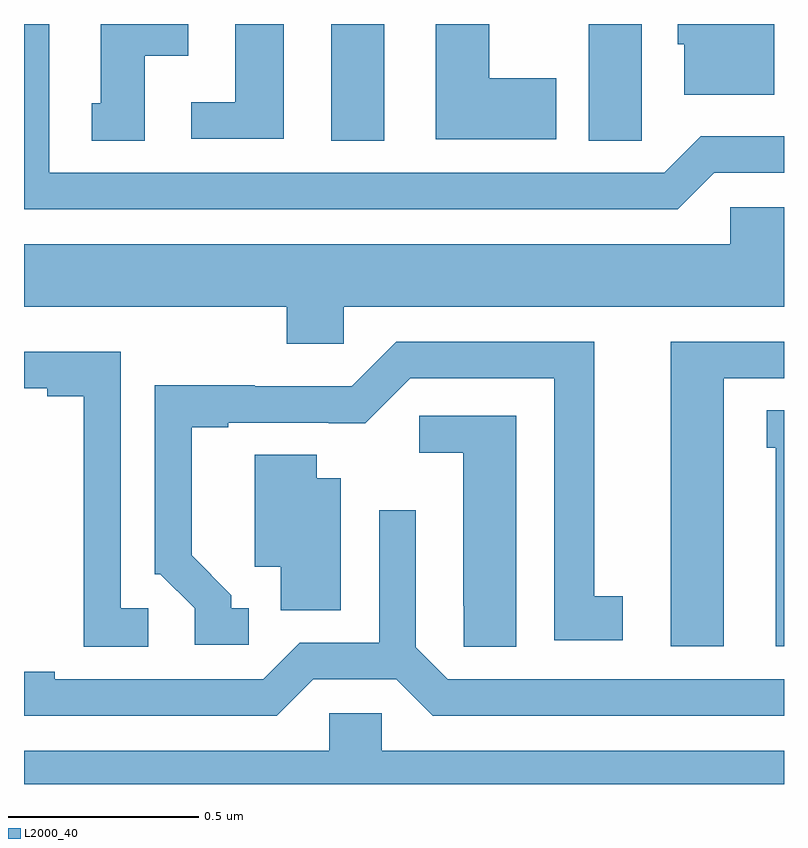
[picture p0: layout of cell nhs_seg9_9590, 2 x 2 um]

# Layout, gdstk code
import gdstk
lib = gdstk.Library(unit=1e-6, precision=1e-09)
def R(c, l, rs):  # rectangles x0, y0, x1, y1
    for r in rs: c.add(gdstk.rectangle(r[:2], r[2:], *l))
def P(c, l, *ps):  # polygons
    for p in ps: c.add(gdstk.Polygon(p, *l))
L2000_40 = (2000, 40)

nhs_seg9_9590 = lib.new_cell('nhs_seg9_9590')
R(nhs_seg9_9590, L2000_40, [(232.808,1194.193,232.948,1194.5)])
P(nhs_seg9_9590, L2000_40, [(233.625,1194.304),(233.626,1194.304),(233.626,1194.5),(233.486,1194.5),(233.486,1194.193),(233.625,1194.193)],
  [(232.684,1194.5),(232.556,1194.5),(232.556,1194.294),(232.44,1194.294),(232.44,1194.198),(232.684,1194.198)],
  [(232.318,1194.416),(232.432,1194.416),(232.432,1194.5),(232.202,1194.5),(232.202,1194.291),(232.178,1194.291),(232.178,1194.193),(232.318,1194.193)],
  [(233.817,1194.108),(234,1194.108),(234,1194.204),(233.781,1194.204),(233.685,1194.108),(232.066,1194.108),(232.066,1194.5),(232,1194.5),(232,1194.012),(233.721,1194.012)],
  [(233.401,1194.357),(233.224,1194.357),(233.224,1194.5),(233.084,1194.5),(233.084,1194.197),(233.401,1194.197)],
  [(233.974,1194.5),(233.72,1194.5),(233.72,1194.447),(233.738,1194.447),(233.738,1194.314),(233.974,1194.314)],
  [(232.842,1193.756),(234,1193.756),(234,1194.018),(233.859,1194.018),(233.859,1193.92),(232,1193.92),(232,1193.756),(232.691,1193.756),(232.691,1193.658),(232.842,1193.658)],
  [(232.591,1192.962),(232.546,1192.962),(232.546,1192.997),(232.441,1193.102),(232.441,1193.439),(232.537,1193.439),(232.537,1193.451),(232.802,1193.451),(232.802,1193.45),(232.898,1193.45),(233.016,1193.568),(233.396,1193.568),(233.396,1192.878),(233.575,1192.878),(233.575,1192.994),(233.5,1192.994),(233.5,1193.664),(232.98,1193.664),(232.863,1193.547),(232.607,1193.547),(232.607,1193.549),(232.344,1193.549),(232.344,1193.052),(232.359,1193.052),(232.449,1192.962),(232.449,1192.866),(232.591,1192.866)],
  [(233.842,1193.568),(234,1193.568),(234,1193.664),(233.702,1193.664),(233.702,1192.863),(233.842,1192.863)],
  [(232.327,1192.962),(232.254,1192.962),(232.254,1193.637),(232,1193.637),(232,1193.541),(232.061,1193.541),(232.061,1193.521),(232.157,1193.521),(232.157,1192.861),(232.327,1192.861)],
  [(234,1193.483),(233.954,1193.483),(233.954,1193.385),(233.978,1193.385),(233.978,1192.863),(234,1192.863)],
  [(233.296,1193.469),(233.04,1193.469),(233.04,1193.372),(233.156,1193.372),(233.156,1192.969),(233.157,1192.969),(233.157,1192.861),(233.296,1192.861)],
  [(232.834,1193.305),(232.771,1193.305),(232.771,1193.366),(232.607,1193.366),(232.607,1193.072),(232.676,1193.072),(232.676,1192.957),(232.834,1192.957)],
  [(232.761,1192.776),(232.979,1192.776),(233.075,1192.68),(234,1192.68),(234,1192.776),(233.115,1192.776),(233.031,1192.86),(233.031,1193.221),(232.935,1193.221),(232.935,1192.872),(232.725,1192.872),(232.629,1192.776),(232.081,1192.776),(232.081,1192.796),(232,1192.796),(232,1192.68),(232.665,1192.68)],
  [(234,1192.588),(232.941,1192.588),(232.941,1192.686),(232.803,1192.686),(232.803,1192.588),(232,1192.588),(232,1192.5),(234,1192.5)])

lib.write_gds('nhs_seg9_9590.gds')
